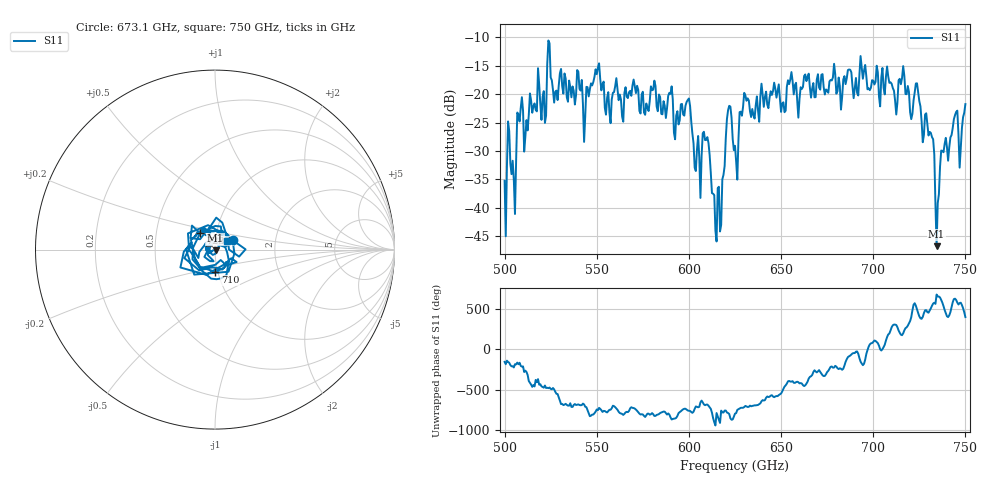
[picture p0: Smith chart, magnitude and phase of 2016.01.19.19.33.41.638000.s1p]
!Created with skrf (http://scikit-rf.org).
# GHz S RI R 50.0
!freq ReS11 ImS11
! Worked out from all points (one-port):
!   401 points, 500 GHz to 750 GHz, reference 50 ohm
!   lowest |S11| = -46.8 dB at 734.4 GHz (marker M1), VSWR 1.01, Z = 50.3 - j0.333 ohm
!   |S11| at or under -10 dB: start of sweep to end of sweep
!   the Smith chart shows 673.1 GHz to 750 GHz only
!   S11 on the Smith chart (normalised r, x): 673.1 GHz: 1.22, +0.14; 710 GHz: 0.97, -0.24; 723.8 GHz: 0.84, +0.16; 750 GHz: 1.13, +0.11
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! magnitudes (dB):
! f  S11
! 500 GHz  -35.3
! 502.5 GHz  -26.5
! 505 GHz  -35.1
! 508.1 GHz  -24.8
! 521.2 GHz  -19.5
! 524.4 GHz  -11.0
! 527.5 GHz  -19.6
! 531.2 GHz  -18.6
! 562.5 GHz  -20.1
! 580.6 GHz  -19.2
! 593.8 GHz  -23.0
! 599.4 GHz  -21.0
! 605 GHz  -27.4
! 609.4 GHz  -28.1
! 615.6 GHz  -36.5
! 621.9 GHz  -22.0
! 625 GHz  -29.1
! 630.6 GHz  -20.2
! 656.2 GHz  -17.7
! 673.1 GHz  -18.8
! 687.5 GHz  -15.7
! 710 GHz  -18.2
! 718.8 GHz  -18.5
! 723.8 GHz  -18.1
! 731.9 GHz  -27.6
! 734.4 GHz  -46.8
! 738.1 GHz  -30.2
! 750 GHz  -21.7
